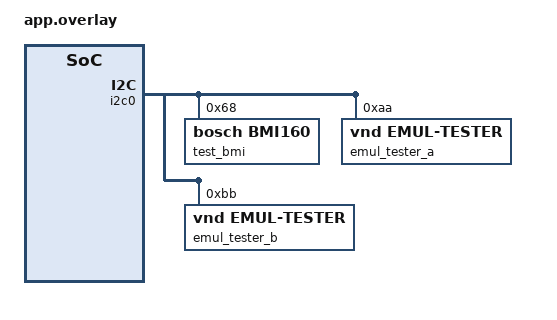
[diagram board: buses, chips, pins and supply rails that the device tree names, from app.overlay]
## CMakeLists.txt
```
# Copyright 2022 Google LLC
#
# SPDX-License-Identifier: Apache-2.0

cmake_minimum_required(VERSION 3.20.0)

find_package(Zephyr REQUIRED HINTS $ENV{ZEPHYR_BASE})
project(emul)

target_sources(app PRIVATE src/main.c)
target_sources(app PRIVATE src/emul_tester.c)
```

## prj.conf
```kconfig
# Copyright 2022 Google LLC
#
# SPDX-License-Identifier: Apache-2.0

CONFIG_ZTEST=y
CONFIG_SENSOR=y
CONFIG_BMI160_TRIGGER_NONE=y
CONFIG_EMUL=y
```

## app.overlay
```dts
/*
 * Copyright 2022 Google LLC
 *
 * SPDX-License-Identifier: Apache-2.0
 *
 * Application overlay for testing the emul.h API.
 *
 * Names in this file should be chosen in a way that won't conflict
 * with real-world devicetree nodes, to allow these tests to run on
 * (and be extended to test) real hardware.
 */

&i2c0 {
	test_bmi: bmi@68 {
		compatible = "bosch,bmi160";
		reg = <0x68>;
		status = "okay";
	};

	emul_tester_a: driver@aa {
		compatible = "vnd,emul-tester";
		reg = <0xaa>;
		status = "okay";
		scale = <1>;
	};
	emul_tester_b: driver@bb {
		compatible = "vnd,emul-tester";
		reg = <0xbb>;
		status = "okay";
		scale = <10>;
	};
};
```

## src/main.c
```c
/*
 * Copyright 2022 Google LLC
 *
 * SPDX-License-Identifier: Apache-2.0
 */

#include "emul_tester.h"

#include <zephyr/device.h>
#include <zephyr/devicetree.h>
#include <zephyr/drivers/emul.h>
#include <zephyr/ztest.h>
#include <zephyr/ztest_assert.h>
#include <zephyr/ztest_test.h>

#define TEST_ACCEL DT_NODELABEL(test_bmi)

#define TEST_EMUL_A DT_NODELABEL(emul_tester_a)
#define TEST_EMUL_B DT_NODELABEL(emul_tester_b)

ZTEST(emul, test_emul_dt_get)
{
	/* This variable is static to verify that the result of EMUL_DT_GET is a
	 * compile-time constant.
	 */
	static const struct emul *emul_static = EMUL_DT_GET(TEST_ACCEL);

	/* Verify that EMUL_DT_GET returned the expected struct emul. */
	zassert_not_null(emul_static, "EMUL_DT_GET returned NULL");
	zassert_ok(strcmp(emul_static->dev->name, DT_NODE_FULL_NAME(TEST_ACCEL)),
		   "Unexpected device name %s", emul_static->dev->name);
}

ZTEST(emul, test_emul_backend_api)
{
	static const struct emul *emul_a = EMUL_DT_GET(TEST_EMUL_A);
	static const struct emul *emul_b = EMUL_DT_GET(TEST_EMUL_B);
	int set_action_value;
	int scale;
	int get_action_value;

	set_action_value = 5;

	scale = DT_PROP(TEST_EMUL_A, scale);
	zassert_not_null(emul_a, "emul_tester_a not found");
	zassert_ok(emul_tester_backend_set_action(emul_a, set_action_value));
	zassert_ok(emul_tester_backend_get_action(emul_a, &get_action_value));
	zassert_equal(get_action_value, set_action_value * scale);

	scale = DT_PROP(TEST_EMUL_B, scale);
	zassert_not_null(emul_b, "emul_tester_b not found");
	zassert_ok(emul_tester_backend_set_action(emul_b, set_action_value));
	zassert_ok(emul_tester_backend_get_action(emul_b, &get_action_value));
	zassert_equal(get_action_value, set_action_value * scale);
}

ZTEST_SUITE(emul, NULL, NULL, NULL, NULL, NULL);
```

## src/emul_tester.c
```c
/*
 * Copyright 2023 Google LLC
 *
 * SPDX-License-Identifier: Apache-2.0
 */

#include "emul_tester.h"

#include <zephyr/device.h>
#include <zephyr/drivers/emul.h>
#include <zephyr/drivers/emul_stub_device.h>
#include <zephyr/drivers/i2c.h>
#include <zephyr/drivers/i2c_emul.h>

#define DT_DRV_COMPAT vnd_emul_tester

struct emul_tester_cfg {
	int scale;
};

struct emul_tester_data {
	int action;
};

static int emul_tester_set_action(const struct emul *target, int action)
{
	const struct emul_tester_cfg *cfg = target->cfg;
	struct emul_tester_data *data = target->data;

	data->action = action * cfg->scale;

	return 0;
}

static int emul_tester_get_action(const struct emul *target, int *action)
{
	struct emul_tester_data *data = target->data;

	*action = data->action;

	return 0;
}

static int emul_tester_transfer(const struct emul *target, struct i2c_msg *msgs, int num_msgs,
				int addr)
{
	ARG_UNUSED(target);
	ARG_UNUSED(msgs);
	ARG_UNUSED(num_msgs);
	ARG_UNUSED(addr);

	return -ENOTSUP;
}

static struct i2c_emul_api bus_api = {
	.transfer = emul_tester_transfer,
};

static const struct emul_tester_backend_api emul_tester_backend_api = {
	.set_action = emul_tester_set_action,
	.get_action = emul_tester_get_action,
};

static int emul_tester_init(const struct emul *target, const struct device *parent)
{
	ARG_UNUSED(target);
	ARG_UNUSED(parent);

	return 0;
}

#define EMUL_TESTER(n)                                                                             \
	static struct emul_tester_data emul_tester_data_##n;                                       \
	static const struct emul_tester_cfg emul_tester_cfg_##n = {                                \
		.scale = DT_INST_PROP(n, scale),                                                   \
	};                                                                                         \
	EMUL_DT_INST_DEFINE(n, emul_tester_init, &emul_tester_data_##n, &emul_tester_cfg_##n,      \
			    &bus_api, &emul_tester_backend_api);

DT_INST_FOREACH_STATUS_OKAY(EMUL_TESTER)

DT_INST_FOREACH_STATUS_OKAY(EMUL_STUB_DEVICE)
```

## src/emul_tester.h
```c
/*
 * Copyright 2023 Google LLC
 *
 * SPDX-License-Identifier: Apache-2.0
 */

#ifndef TEST_SUBSYS_EMUL_SRC_EMUL_TESTER_H_
#define TEST_SUBSYS_EMUL_SRC_EMUL_TESTER_H_

#include <zephyr/drivers/emul.h>

struct emul_tester_backend_api {
	int (*set_action)(const struct emul *target, int action);
	int (*get_action)(const struct emul *target, int *action);
};

static inline int emul_tester_backend_set_action(const struct emul *target, int action)
{
	const struct emul_tester_backend_api *api =
		(const struct emul_tester_backend_api *)target->backend_api;

	return api->set_action(target, action);
}

static inline int emul_tester_backend_get_action(const struct emul *target, int *action)
{
	const struct emul_tester_backend_api *api =
		(const struct emul_tester_backend_api *)target->backend_api;

	return api->get_action(target, action);
}

#endif /* TEST_SUBSYS_EMUL_SRC_EMUL_TESTER_H_ */
```
